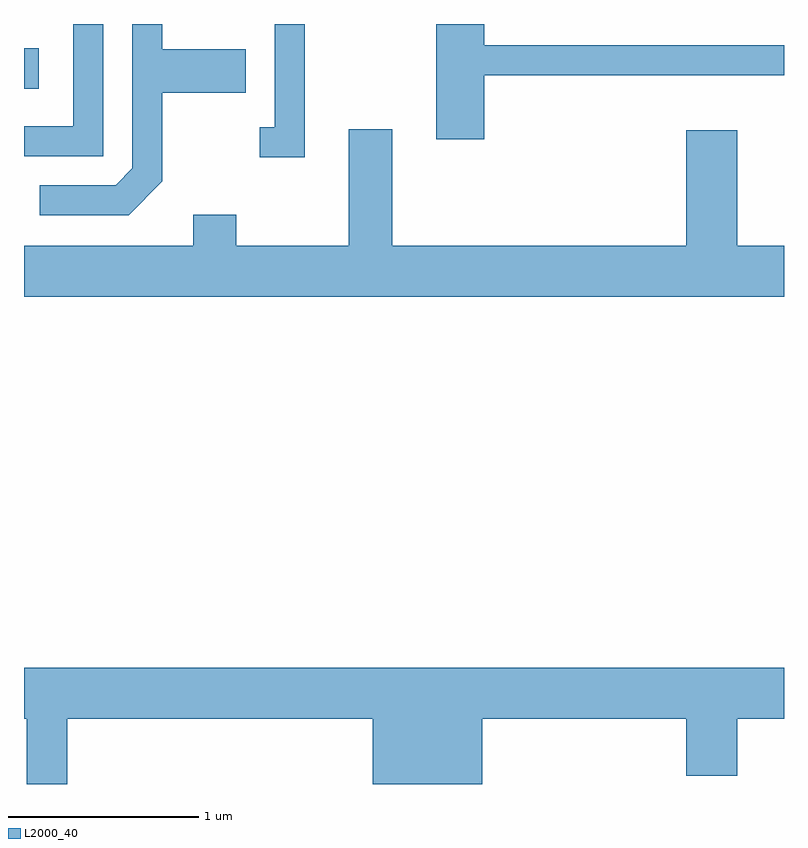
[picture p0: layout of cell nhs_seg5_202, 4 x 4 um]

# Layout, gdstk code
import gdstk
lib = gdstk.Library(unit=1e-6, precision=1e-09)
def R(c, l, rs):  # rectangles x0, y0, x1, y1
    for r in rs: c.add(gdstk.rectangle(r[:2], r[2:], *l))
def P(c, l, *ps):  # polygons
    for p in ps: c.add(gdstk.Polygon(p, *l))
L2000_40 = (2000, 40)

nhs_seg5_202 = lib.new_cell('nhs_seg5_202')
R(nhs_seg5_202, L2000_40, [(191.611,1395.731,191.689,1395.944)])
P(nhs_seg5_202, L2000_40, [(193.089,1396.072),(192.931,1396.072),(192.931,1395.529),(192.853,1395.529),(192.853,1395.371),(193.089,1395.371)],
  [(192.339,1395.244),(192.339,1395.711),(192.779,1395.711),(192.779,1395.939),(192.339,1395.939),(192.339,1396.072),(192.181,1396.072),(192.181,1395.312),(192.094,1395.224),(191.693,1395.224),(191.693,1395.066),(192.162,1395.066)],
  [(194.034,1395.801),(195.611,1395.801),(195.611,1395.959),(194.034,1395.959),(194.034,1396.072),(193.781,1396.072),(193.781,1395.466),(194.034,1395.466)],
  [(192.029,1396.072),(191.871,1396.072),(191.871,1395.534),(191.611,1395.534),(191.611,1395.376),(192.029,1395.376)],
  [(195.611,1394.904),(195.364,1394.904),(195.364,1395.514),(195.096,1395.514),(195.096,1394.904),(193.549,1394.904),(193.549,1395.519),(193.321,1395.519),(193.321,1394.904),(192.729,1394.904),(192.729,1395.069),(192.501,1395.069),(192.501,1394.904),(191.611,1394.904),(191.611,1394.636),(195.611,1394.636)],
  [(191.839,1392.416),(193.446,1392.416),(193.446,1392.072),(194.024,1392.072),(194.024,1392.416),(195.096,1392.416),(195.096,1392.116),(195.364,1392.116),(195.364,1392.416),(195.611,1392.416),(195.611,1392.684),(191.611,1392.684),(191.611,1392.416),(191.626,1392.416),(191.626,1392.072),(191.839,1392.072)])

lib.write_gds('nhs_seg5_202.gds')
